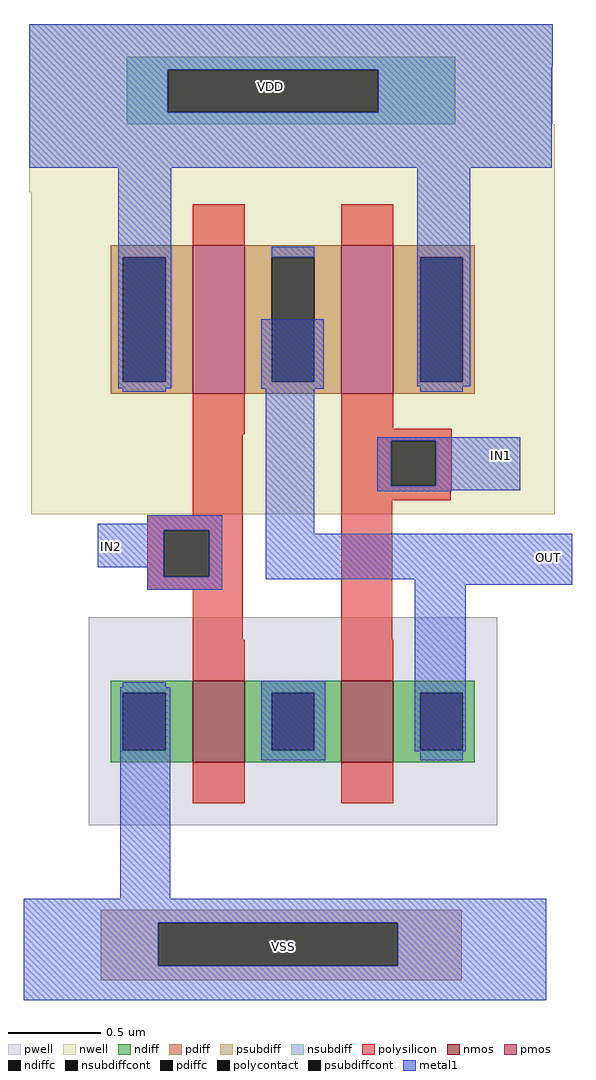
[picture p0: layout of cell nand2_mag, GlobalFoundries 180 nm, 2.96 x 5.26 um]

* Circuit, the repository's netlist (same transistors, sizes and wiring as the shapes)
* NGSPICE file created from nand2_mag.ext - technology: gf180mcuC

.subckt pmos_3p3_M8SWPS a_n28_n124# a_n116_n80# a_28_n80# w_n202_n210#
X0 a_28_n80# a_n28_n124# a_n116_n80# w_n202_n210# pfet_03v3 ad=0.352p pd=2.48u as=0.352p ps=2.48u w=0.8u l=0.28u
.ends

.subckt nmos_3p3_5QNVWA a_n116_n44# a_28_n44# a_n28_n88# VSUBS
X0 a_28_n44# a_n28_n88# a_n116_n44# VSUBS nfet_03v3 ad=0.194p pd=1.76u as=0.194p ps=1.76u w=0.44u l=0.28u
.ends

.subckt nand2_mag IN2 OUT IN1 VDD VSS
Xpmos_3p3_M8SWPS_0 IN1 OUT VDD VDD pmos_3p3_M8SWPS
Xpmos_3p3_M8SWPS_1 IN2 VDD OUT VDD pmos_3p3_M8SWPS
Xnmos_3p3_5QNVWA_0 VSS m1_186_70# IN2 VSS nmos_3p3_5QNVWA
Xnmos_3p3_5QNVWA_1 m1_186_70# OUT IN1 VSS nmos_3p3_5QNVWA
.ends

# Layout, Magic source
magic
tech gf180mcuC
magscale 1 10
<< nwell >>
rect -64 682 500 863
<< psubdiff >>
rect 13 -105 402 -91
rect 13 -151 75 -105
rect 333 -151 402 -105
rect 13 -167 402 -151
<< nsubdiff >>
rect 41 814 395 828
rect 41 768 85 814
rect 312 768 395 814
rect 41 755 395 768
<< psubdiffcont >>
rect 75 -151 333 -105
<< nsubdiffcont >>
rect 85 768 312 814
<< polysilicon >>
rect 311 421 391 427
rect 112 334 166 421
rect 63 318 166 334
rect 63 268 81 318
rect 130 268 166 318
rect 63 254 166 268
rect 112 200 166 254
rect 272 414 391 421
rect 272 366 326 414
rect 374 366 391 414
rect 272 360 391 366
rect 272 350 390 360
rect 272 200 327 350
<< polycontact >>
rect 81 268 130 318
rect 326 366 374 414
<< metal1 >>
rect -64 817 500 863
rect -64 814 499 817
rect -64 768 85 814
rect 312 768 499 814
rect -64 708 499 768
rect 32 471 89 708
rect 186 470 253 545
rect 354 473 411 708
rect 63 325 144 334
rect 10 318 144 325
rect 10 278 81 318
rect 63 268 81 278
rect 130 268 144 318
rect 63 254 144 268
rect 191 314 243 470
rect 311 414 465 418
rect 311 366 326 414
rect 374 366 465 414
rect 311 361 465 366
rect 311 360 391 361
rect 191 265 521 314
rect 351 259 521 265
rect 34 -79 88 149
rect 186 70 255 156
rect 351 80 406 259
rect -70 -105 493 -79
rect -70 -151 75 -105
rect 333 -151 493 -105
rect -70 -188 493 -151
use nmos_3p3_5QNVWA  nmos_3p3_5QNVWA_0
transform 1 0 140 0 1 112
box -140 -112 140 112
use nmos_3p3_5QNVWA  nmos_3p3_5QNVWA_1
transform 1 0 300 0 1 112
box -140 -112 140 112
use pmos_3p3_M8SWPS  pmos_3p3_M8SWPS_0
transform 1 0 300 0 1 545
box -202 -210 202 210
use pmos_3p3_M8SWPS  pmos_3p3_M8SWPS_1
transform 1 0 140 0 1 545
box -202 -210 202 210
<< labels >>
flabel metal1 25 300 25 300 0 FreeSans 320 0 0 0 IN2
port 0 nsew
flabel metal1 495 289 495 289 0 FreeSans 320 0 0 0 OUT
port 1 nsew
flabel metal1 445 398 445 398 0 FreeSans 320 0 0 0 IN1
port 2 nsew
flabel psubdiffcont 210 -130 210 -130 0 FreeSans 320 0 0 0 VSS
port 4 nsew
flabel nsubdiffcont 196 796 196 796 0 FreeSans 480 0 0 0 VDD
port 3 nsew
<< end >>

# cell nmos_3p3_5QNVWA: kit device nmos_3p3, w 0.440 l 0.280 m 1 nf 1 diffcov 100 polycov 100 guard 0 glc 0 grc 0 gtc 0 gbc 0 tbcov 100 rlcov 100 topc 0 botc 0 poverlap 0 doverlap 1 lmin 0.28 wmin 0.22 full_metal 0 compatible {nmos_3p3 nmos_6p0 nmos_6p0_nat}

# cell pmos_3p3_M8SWPS: kit device pmos_3p3, w 0.80 l 0.280 m 1 nf 1 diffcov 100 polycov 100 guard 0 glc 0 grc 0 gtc 0 gbc 0 tbcov 100 rlcov 100 topc 0 botc 0 poverlap 0 doverlap 1 lmin 0.28 wmin 0.22 full_metal 0 compatible {pmos_3p3 pmos_6p0}
